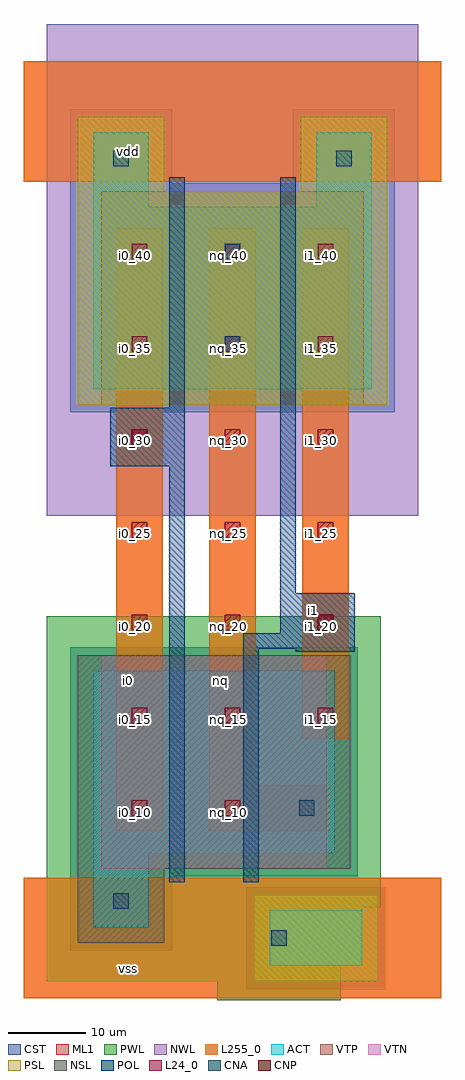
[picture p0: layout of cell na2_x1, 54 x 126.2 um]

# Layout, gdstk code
import gdstk
lib = gdstk.Library(unit=1e-6, precision=5e-08)
def R(c, l, rs):  # rectangles x0, y0, x1, y1
    for r in rs: c.add(gdstk.rectangle(r[:2], r[2:], *l))
def A(c, l, x, y, w, h, nx, ny, dx, dy):  # array of equal rectangles
    R(c, l, [(x+i*dx, y+j*dy, x+i*dx+w, y+j*dy+h) for i in range(nx) for j in range(ny)])
NWL = (1, 0)
PWL = (2, 0)
CST = (3, 0)
ACT = (4, 0)
VTN = (5, 0)
VTP = (6, 0)
POL = (7, 0)
NSL = (8, 0)
PSL = (9, 0)
CNA = (10, 0)
CNP = (11, 0)
ML1 = (12, 0)
L24_0 = (24, 0)
L255_0 = (255, 0)

na2_x1 = lib.new_cell('na2_x1')
R(na2_x1, NWL, [(0,61.8,48,125.4)])
R(na2_x1, PWL, [(22,-0.8,38,48.8), (0,1.6,38,48.8), (0,3.6,40.8,48.8), (0,11.2,43.2,48.8)])
R(na2_x1, CST, [(25.8,0.6,43.8,13.8), (25.8,0.6,43.8,13.8), (3,5.6,16.2,44.8), (3,5.6,16.2,44.8), (6,15.2,27.6,44.8), (6,15.2,27.6,44.8), (15.6,15.2,37.2,44.8), (15.6,15.2,37.2,44.8), (27,15.2,40.2,44.8), (27,15.2,40.2,44.8), (3,75.2,16.2,114.4), (3,75.2,16.2,114.4), (6,75.2,27.6,104.8), (6,75.2,27.6,104.8), (17.4,75.2,30.6,104.8), (17.4,75.2,30.6,104.8), (20.4,75.2,42,104.8), (20.4,75.2,42,104.8), (31.8,75.2,45,114.4), (31.8,75.2,45,114.4)])
R(na2_x1, ACT, [(28.8,3.6,40.8,10.8), (6,8.6,13.2,41.8), (6,18.2,37.2,41.8), (6,78.2,13.2,111.4), (6,78.2,42,101.8), (34.8,78.2,42,111.4)])
R(na2_x1, VTN, [(7,16.2,26.6,43.8), (7,16.2,26.6,43.8), (16.6,16.2,36.2,43.8), (16.6,16.2,36.2,43.8)])
R(na2_x1, VTP, [(7,76.2,26.6,103.8), (7,76.2,26.6,103.8), (21.4,76.2,41,103.8), (21.4,76.2,41,103.8)])
R(na2_x1, POL, [(15.8,14.4,17.8,105.6), (25.4,14.4,27.4,46.6), (32.2,44.2,39.8,51.8), (25.4,44.6,39.8,46.6), (30.2,44.6,39.8,51.8), (30.2,44.6,32.2,105.6), (8.2,68.2,17.8,75.8)])
R(na2_x1, NSL, [(4,6.6,15.2,43.8), (4,16.2,39.2,43.8)])
R(na2_x1, PSL, [(26.8,1.6,42.8,12.8), (4,76.2,15.2,113.4), (4,76.2,44,103.8), (32.8,76.2,44,113.4)])
R(na2_x1, CNA, [(29,6.2,31,8.2), (8.6,11,10.6,13), (32.6,23,34.6,25), (23,83,25,85), (23,95,25,97), (8.6,107,10.6,109), (37.4,107,39.4,109)])
R(na2_x1, CNP, [(35,47,37,49), (11,71,13,73)])
R(na2_x1, ML1, [(-3,-0.6,51,15), (27,4.2,33,10.2), (6.6,9,12.6,15), (9,21,15,99), (9,21,15,99), (9,21,15,99), (21,21,27,99), (21,21,27,99), (21,21,27,99), (21,21,36.6,27), (21,21,36.6,27), (30.6,21,36.6,27), (33,33,39,99), (33,33,39,99), (33,33,39,99), (33,45,39,51), (9,69,15,75), (21,81,27,87), (21,93,27,99), (-3,105,51,120.6), (6.6,105,12.6,111), (35.4,105,41.4,111)])
A(na2_x1, L24_0, 11, 35, 2, 2, 3, 6, 12, 12)
R(na2_x1, L24_0, [(11,23,13,25), (23,23,25,25)])
R(na2_x1, L255_0, [(-3,-0.6,51,15), (9,21,15,99), (21,21,27,99), (33,33,39,99), (-3,105,51,120.6)])
na2_x1.add(gdstk.Label('vss', (10.5,3.3), layer=255, texttype=0))
na2_x1.add(gdstk.Label('vdd', (10.5,108.9), layer=255, texttype=0))
na2_x1.add(gdstk.Label('i0', (10.5,40.5), layer=255, texttype=0))
na2_x1.add(gdstk.Label('i1', (34.5,49.5), layer=255, texttype=0))
na2_x1.add(gdstk.Label('nq', (22.5,40.5), layer=255, texttype=0))
na2_x1.add(gdstk.Label('i0_40', (11.5,95.5), layer=24, texttype=0))
na2_x1.add(gdstk.Label('i0_35', (11.5,83.5), layer=24, texttype=0))
na2_x1.add(gdstk.Label('i0_30', (11.5,71.5), layer=24, texttype=0))
na2_x1.add(gdstk.Label('i0_25', (11.5,59.5), layer=24, texttype=0))
na2_x1.add(gdstk.Label('i0_20', (11.5,47.5), layer=24, texttype=0))
na2_x1.add(gdstk.Label('i0_15', (11.5,35.5), layer=24, texttype=0))
na2_x1.add(gdstk.Label('i0_10', (11.5,23.5), layer=24, texttype=0))
na2_x1.add(gdstk.Label('i1_15', (35.5,35.5), layer=24, texttype=0))
na2_x1.add(gdstk.Label('i1_20', (35.5,47.5), layer=24, texttype=0))
na2_x1.add(gdstk.Label('i1_25', (35.5,59.5), layer=24, texttype=0))
na2_x1.add(gdstk.Label('i1_30', (35.5,71.5), layer=24, texttype=0))
na2_x1.add(gdstk.Label('i1_35', (35.5,83.5), layer=24, texttype=0))
na2_x1.add(gdstk.Label('i1_40', (35.5,95.5), layer=24, texttype=0))
na2_x1.add(gdstk.Label('nq_40', (23.5,95.5), layer=24, texttype=0))
na2_x1.add(gdstk.Label('nq_35', (23.5,83.5), layer=24, texttype=0))
na2_x1.add(gdstk.Label('nq_30', (23.5,71.5), layer=24, texttype=0))
na2_x1.add(gdstk.Label('nq_25', (23.5,59.5), layer=24, texttype=0))
na2_x1.add(gdstk.Label('nq_20', (23.5,47.5), layer=24, texttype=0))
na2_x1.add(gdstk.Label('nq_15', (23.5,35.5), layer=24, texttype=0))
na2_x1.add(gdstk.Label('nq_10', (23.5,23.5), layer=24, texttype=0))

lib.write_gds('na2_x1.gds')
